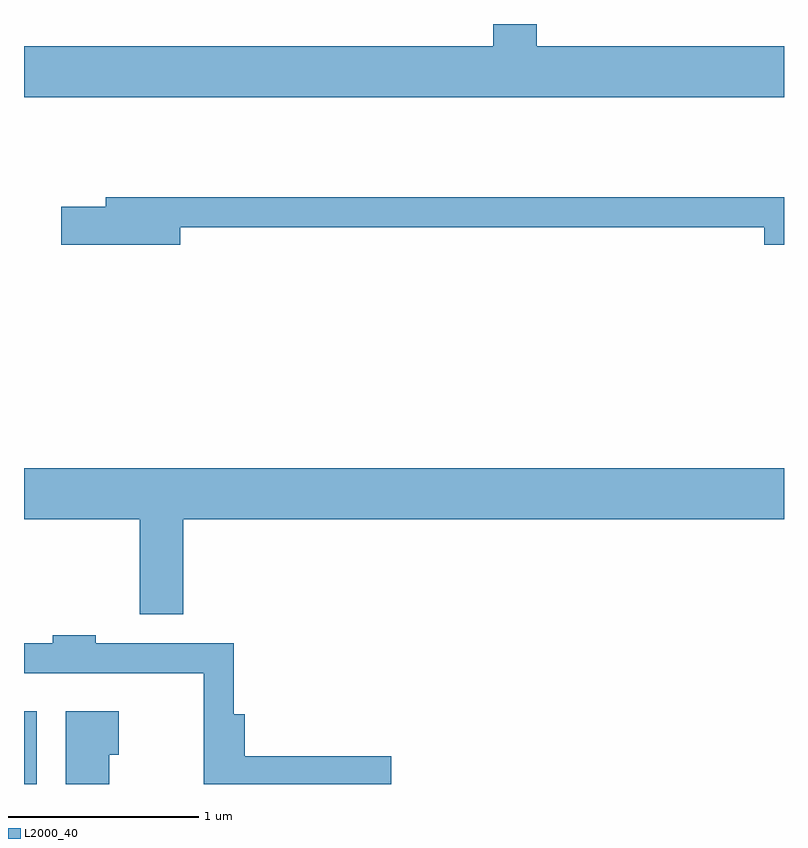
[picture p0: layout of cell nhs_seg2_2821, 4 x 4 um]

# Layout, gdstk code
import gdstk
lib = gdstk.Library(unit=1e-6, precision=1e-09)
def R(c, l, rs):  # rectangles x0, y0, x1, y1
    for r in rs: c.add(gdstk.rectangle(r[:2], r[2:], *l))
def P(c, l, *ps):  # polygons
    for p in ps: c.add(gdstk.Polygon(p, *l))
L2000_40 = (2000, 40)

nhs_seg2_2821 = lib.new_cell('nhs_seg2_2821')
R(nhs_seg2_2821, L2000_40, [(267.611,1055.802,267.679,1056.184)])
P(nhs_seg2_2821, L2000_40, [(271.611,1059.684),(270.309,1059.684),(270.309,1059.802),(270.081,1059.802),(270.081,1059.684),(267.611,1059.684),(267.611,1059.416),(271.611,1059.416)],
  [(268.434,1058.731),(271.506,1058.731),(271.506,1058.641),(271.611,1058.641),(271.611,1058.889),(268.041,1058.889),(268.041,1058.839),(267.806,1058.839),(267.806,1058.641),(268.434,1058.641)],
  [(268.449,1057.196),(271.611,1057.196),(271.611,1057.464),(267.611,1057.464),(267.611,1057.196),(268.221,1057.196),(268.221,1056.696),(268.449,1056.696)],
  [(269.544,1055.949),(268.774,1055.949),(268.774,1056.169),(268.714,1056.169),(268.714,1056.544),(267.989,1056.544),(267.989,1056.584),(267.761,1056.584),(267.761,1056.544),(267.611,1056.544),(267.611,1056.386),(268.556,1056.386),(268.556,1055.802),(269.544,1055.802)],
  [(268.059,1055.956),(268.109,1055.956),(268.109,1056.184),(267.831,1056.184),(267.831,1055.802),(268.059,1055.802)])

lib.write_gds('nhs_seg2_2821.gds')
